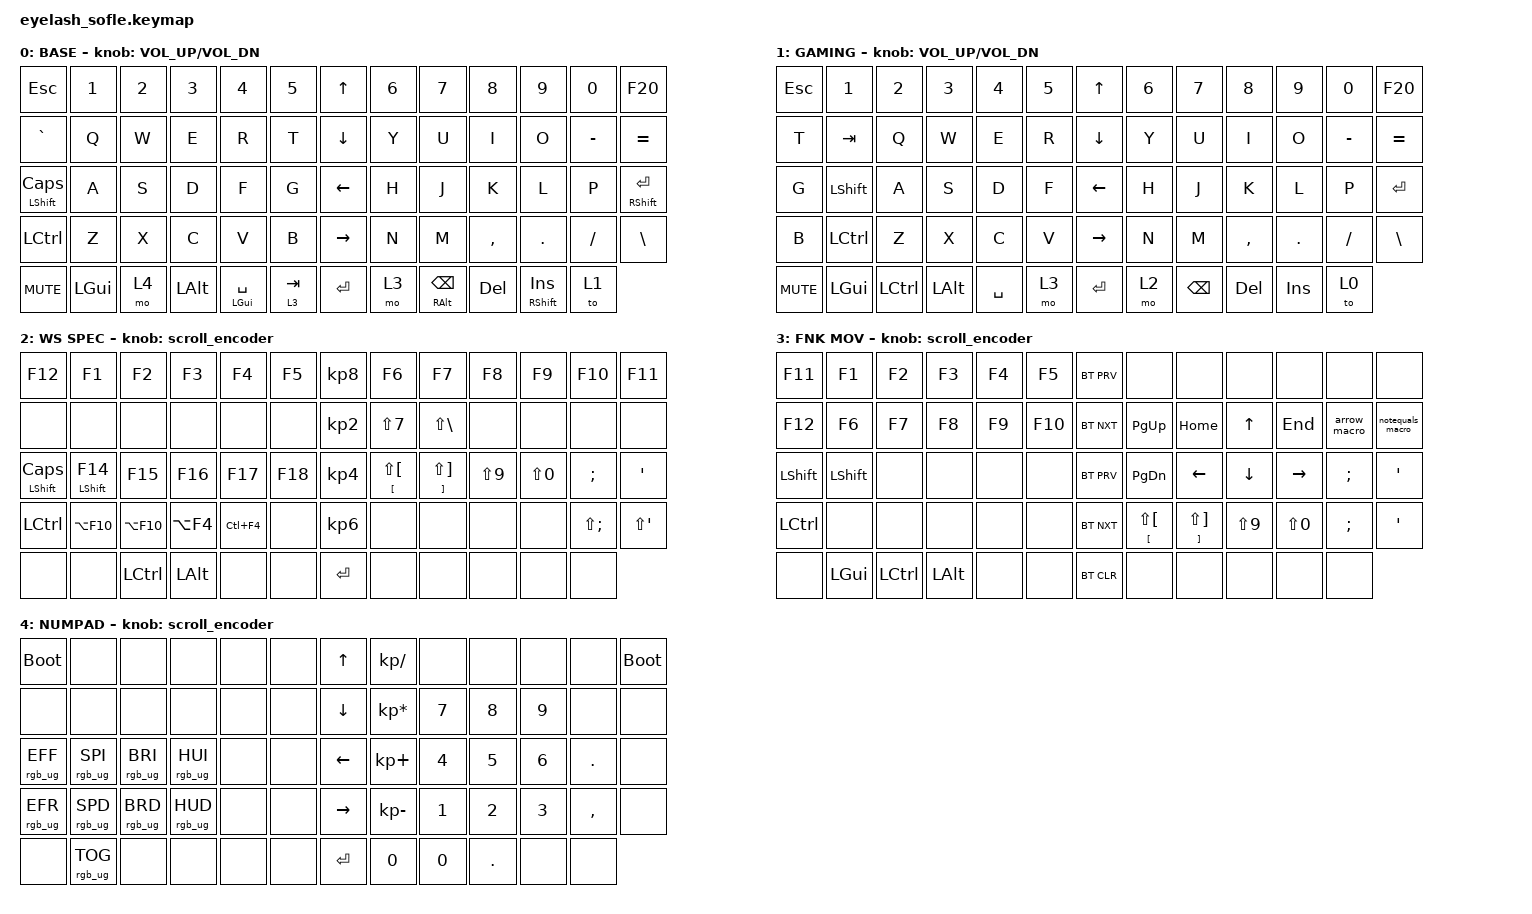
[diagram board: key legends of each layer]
#define ZMK_POINTING_DEFAULT_MOVE_VAL 1200  // 600
#define ZMK_POINTING_DEFAULT_SCRL_VAL 25   // 10

#include <input/processors.dtsi>
#include <zephyr/dt-bindings/input/input-event-codes.h>
#include <behaviors.dtsi>
#include <dt-bindings/zmk/bt.h>
#include <dt-bindings/zmk/ext_power.h>
#include <dt-bindings/zmk/keys.h>
#include <dt-bindings/zmk/pointing.h>
#include <dt-bindings/zmk/rgb.h>
#include <dt-bindings/zmk/outputs.h>

&mmv_input_listener { input-processors = <&zip_xy_scaler 2 1>; };

&msc_input_listener { input-processors = <&zip_scroll_scaler 2 1>; };

&msc {
    acceleration-exponent = <1>;      // 0
    time-to-max-speed-ms = <100>;       // 300
    delay-ms = <0>;                   // 0
};

&mmv {
    time-to-max-speed-ms = <500>;
    acceleration-exponent = <1>;
    trigger-period-ms = <16>;
};

&mt {
    flavor = "tap-preferred";
    tapping-term-ms = <150>;
};

/ {
    macros {
        arrow_macro: arrow_macro {
            compatible     = "zmk,behavior-macro";
            #binding-cells = <0>;
            bindings       = <&macro_tap &kp SPACE &kp MINUS &kp LS(DOT) &kp SPACE>;
        };
        notequals_macro: notequals_macro {
            compatible     = "zmk,behavior-macro";
            #binding-cells = <0>;
            bindings       = <&macro_tap &kp LS(N1) &kp EQUAL &kp SPACE>;
        };
    };
};

/ {

    scroll_encoder: scroll_encoder {
        compatible = "zmk,behavior-sensor-rotate";
        #sensor-binding-cells = <0>;
        bindings = <&msc SCRL_DOWN>, <&msc SCRL_UP>;
        tap-ms = <100>;
    };

    keymap {
        compatible = "zmk,keymap";

        layer_0 {
            bindings = <
&kp ESC         &kp N1    &kp N2     &kp N3    &kp N4          &kp N5     &kp UP_ARROW     &kp N6  &kp N7         &kp N8     &kp N9         &kp N0     &kp F20
&kp GRAVE       &kp Q     &kp W      &kp E     &kp R           &kp T      &kp DOWN_ARROW   &kp Y   &kp U          &kp I      &kp O          &kp MINUS  &kp EQUAL
&mt LSHFT CAPS  &kp A     &kp S      &kp D     &kp F           &kp G      &kp LEFT_ARROW   &kp H   &kp J          &kp K      &kp L          &kp P      &mt RSHFT ENTER
&kp LCTRL       &kp Z     &kp X      &kp C     &kp V           &kp B      &kp RIGHT_ARROW  &kp N   &kp M          &kp COMMA  &kp DOT        &kp FSLH   &kp BSLH
&kp C_MUTE      &kp LGUI  &mo 4      &kp LALT  &mt LGUI SPACE  &lt 3 TAB  &kp ENTER        &mo 3   &mt RALT BSPC  &kp DEL    &mt RSHFT INS  &to 1
            >;

            display-name = "BASE";
            sensor-bindings = <&inc_dec_kp C_VOLUME_UP C_VOL_DN>;
        };

        layer_1 {
            bindings = <
&kp ESC     &kp N1     &kp N2     &kp N3    &kp N4     &kp N5  &kp UP_ARROW     &kp N6  &kp N7    &kp N8     &kp N9   &kp N0     &kp F20
&kp T       &kp TAB    &kp Q      &kp W     &kp E      &kp R   &kp DOWN_ARROW   &kp Y   &kp U     &kp I      &kp O    &kp MINUS  &kp EQUAL
&kp G       &kp LSHFT  &kp A      &kp S     &kp D      &kp F   &kp LEFT_ARROW   &kp H   &kp J     &kp K      &kp L    &kp P      &kp ENTER
&kp B       &kp LCTRL  &kp Z      &kp X     &kp C      &kp V   &kp RIGHT_ARROW  &kp N   &kp M     &kp COMMA  &kp DOT  &kp FSLH   &kp BSLH
&kp C_MUTE  &kp LGUI   &kp LCTRL  &kp LALT  &kp SPACE  &mo 3   &kp ENTER        &mo 2   &kp BSPC  &kp DEL    &kp INS  &to 0
            >;

        display-name = "GAMING";
            sensor-bindings = <&inc_dec_kp C_VOLUME_UP C_VOL_DN>;
        };

        layer_2 {
            bindings = <
&kp F12         &kp F1         &kp F2       &kp F3      &kp F4      &kp F5   &kp KP_N8  &kp F6             &kp F7             &kp F8      &kp F9      &kp F10       &kp F11
&none           &none          &none        &none       &none       &none    &kp KP_N2  &kp LS(N7)         &kp LS(BSLH)       &none       &none       &none         &none
&mt LSHFT CAPS  &mt LSHFT F14  &kp F15      &kp F16     &kp F17     &kp F18  &kp KP_N4  &mt LBKT LS(LBKT)  &mt RBKT LS(RBKT)  &kp LS(N9)  &kp LS(N0)  &kp SEMI      &kp APOS
&kp LCTRL       &kp LA(F10)    &kp LA(F10)  &kp LA(F4)  &kp LC(F4)  &none    &kp KP_N6  &none              &none              &none       &none       &kp LS(SEMI)  &kp LS(APOS)
&none           &none          &kp LCTRL    &kp LALT    &none       &none    &kp ENTER  &none              &none              &none       &none       &none 
            >;

            display-name = "WS SPEC";
            sensor-bindings = <&scroll_encoder>;
        };

        layer_3 {
            bindings = <
&kp F11    &kp F1     &kp F2     &kp F3    &kp F4  &kp F5   &bt BT_PRV  &none              &none              &none       &none       &none         &none
&kp F12    &kp F6     &kp F7     &kp F8    &kp F9  &kp F10  &bt BT_NXT  &kp PG_UP          &kp HOME           &kp UP      &kp END     &arrow_macro  &notequals_macro
&kp LSHFT  &kp LSHFT  &none      &none     &none   &none    &bt BT_PRV  &kp PG_DN          &kp LEFT           &kp DOWN    &kp RIGHT   &kp SEMI      &kp APOS
&kp LCTRL  &none      &none      &none     &none   &none    &bt BT_NXT  &mt LBKT LS(LBKT)  &mt RBKT LS(RBKT)  &kp LS(N9)  &kp LS(N0)  &kp SEMI      &kp APOS
&none      &kp LGUI   &kp LCTRL  &kp LALT  &none   &none    &bt BT_CLR  &none              &none              &none       &none       &none     
            >;

            display-name = "FNK MOV";
            sensor-bindings = <&scroll_encoder>;
        };

        layer_4 {
            bindings = <
&bootloader      &none            &none            &none            &none  &none  &kp UP_ARROW     &kp KP_DIVIDE    &none   &none    &none   &none      &bootloader
&none            &none            &none            &none            &none  &none  &kp DOWN_ARROW   &kp KP_MULTIPLY  &kp N7  &kp N8   &kp N9  &none      &none
&rgb_ug RGB_EFF  &rgb_ug RGB_SPI  &rgb_ug RGB_BRI  &rgb_ug RGB_HUI  &none  &none  &kp LEFT_ARROW   &kp KP_PLUS      &kp N4  &kp N5   &kp N6  &kp DOT    &none
&rgb_ug RGB_EFR  &rgb_ug RGB_SPD  &rgb_ug RGB_BRD  &rgb_ug RGB_HUD  &none  &none  &kp RIGHT_ARROW  &kp KP_SUBTRACT  &kp N1  &kp N2   &kp N3  &kp COMMA  &none
&none            &rgb_ug RGB_TOG  &none            &none            &none  &none  &kp ENTER        &kp N0           &kp N0  &kp DOT  &none   &none
            >;

            display-name = "NUMPAD";
            sensor-bindings = <&scroll_encoder>;
        };
    };
};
